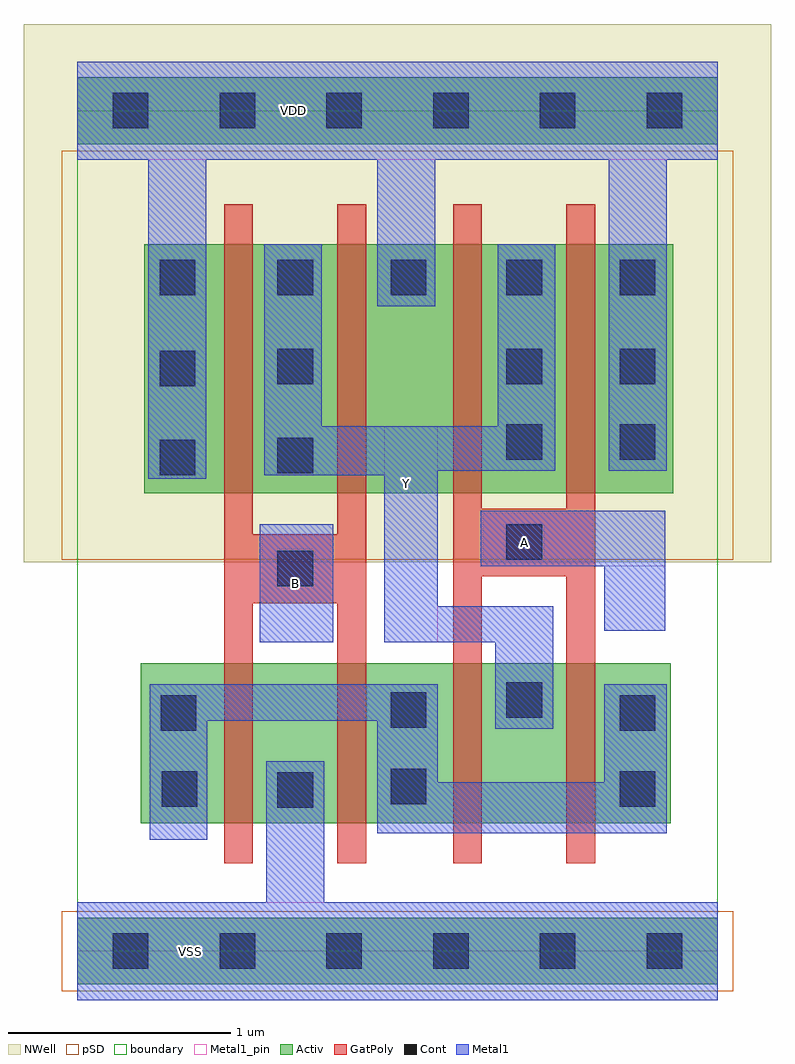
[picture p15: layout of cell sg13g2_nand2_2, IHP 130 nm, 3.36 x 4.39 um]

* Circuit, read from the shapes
.subckt sg13g2_nand2_2 A B VDD VSS Y
XM1 VSS B n1 VSS sg13_lv_nmos w=0.72u l=0.13u m=2
XM2 Y A n1 VSS sg13_lv_nmos w=0.72u l=0.13u m=2
XM3 Y B VDD VDD sg13_lv_pmos w=1.12u l=0.13u m=2
XM4 Y A VDD VDD sg13_lv_pmos w=1.12u l=0.13u m=2
.ends

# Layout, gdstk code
import gdstk
lib = gdstk.Library(unit=1e-6, precision=1e-09)
def R(c, l, rs):  # rectangles x0, y0, x1, y1
    for r in rs: c.add(gdstk.rectangle(r[:2], r[2:], *l))
def A(c, l, x, y, w, h, nx, ny, dx, dy):  # array of equal rectangles
    R(c, l, [(x+i*dx, y+j*dy, x+i*dx+w, y+j*dy+h) for i in range(nx) for j in range(ny)])
def P(c, l, *ps):  # polygons
    for p in ps: c.add(gdstk.Polygon(p, *l))
Activ = (1, 0)
GatPoly = (5, 0)
Cont = (6, 0)
Metal1 = (8, 0)
Metal1_pin = (8, 2)
pSD = (14, 0)
NWell = (31, 0)
boundary = (189, 4)

sg13g2_nand2_2 = lib.new_cell('sg13g2_nand2_2')
R(sg13g2_nand2_2, Activ, [(0,-0.15,2.88,0.15), (0.285,0.575,2.67,1.295), (0.3,2.06,2.68,3.18), (0,3.63,2.88,3.93)])
P(sg13g2_nand2_2, GatPoly, [(1.69,0.395),(1.69,3.36),(1.82,3.36),(1.82,1.99),(2.2,1.99),(2.2,3.36),(2.33,3.36),(2.33,0.395),(2.2,0.395),(2.2,1.685),(1.82,1.685),(1.82,0.395)],
  [(0.66,0.395),(0.66,3.36),(0.79,3.36),(0.79,1.875),(1.17,1.875),(1.17,3.36),(1.3,3.36),(1.3,0.395),(1.17,0.395),(1.17,1.565),(0.79,1.565),(0.79,0.395)])
A(sg13g2_nand2_2, Cont, 1.6, -0.08, 0.16, 0.16, 3, 2, 0.48, 3.78)
A(sg13g2_nand2_2, Cont, 0.9, 2.15, 0.16, 0.16, 1, 3, 0, 0.4)
R(sg13g2_nand2_2, Cont, [(0.16,-0.08,0.32,0.08), (0.16,-0.08,0.32,0.08), (0.64,-0.08,0.8,0.08), (0.64,-0.08,0.8,0.08), (1.12,-0.08,1.28,0.08), (1.12,-0.08,1.28,0.08), (1.6,-0.08,1.76,0.08), (0.9,0.645,1.06,0.805), (0.38,0.65,0.54,0.81), (2.44,0.65,2.6,0.81), (1.41,0.66,1.57,0.82), (0.375,0.99,0.535,1.15), (2.44,0.99,2.6,1.15), (1.41,1.005,1.57,1.165), (1.93,1.05,2.09,1.21), (0.9,1.64,1.06,1.8), (1.93,1.76,2.09,1.92), (0.37,2.14,0.53,2.3), (1.93,2.21,2.09,2.37), (2.44,2.21,2.6,2.37), (0.37,2.54,0.53,2.7), (1.93,2.55,2.09,2.71), (2.44,2.55,2.6,2.71), (0.37,2.95,0.53,3.11), (1.41,2.95,1.57,3.11), (1.93,2.95,2.09,3.11), (2.44,2.95,2.6,3.11), (0.16,3.7,0.32,3.86), (0.16,3.7,0.32,3.86), (0.64,3.7,0.8,3.86), (0.64,3.7,0.8,3.86), (1.12,3.7,1.28,3.86), (1.12,3.7,1.28,3.86), (1.6,3.7,1.76,3.86)])
R(sg13g2_nand2_2, Metal1, [(0.82,1.39,1.15,1.92)])
P(sg13g2_nand2_2, Metal1, [(0,-0.22),(0,0.22),(0.85,0.22),(0.85,0.855),(1.11,0.855),(1.11,0.22),(2.88,0.22),(2.88,-0.22)],
  [(0.325,0.5),(0.325,1.2),(1.62,1.2),(1.62,0.76),(2.37,0.76),(2.37,1.2),(2.65,1.2),(2.65,0.53),(1.35,0.53),(1.35,1.035),(0.585,1.035),(0.585,0.5)],
  [(1.88,1),(1.88,1.39),(1.38,1.39),(1.38,2.14),(0.84,2.14),(0.84,3.18),(1.1,3.18),(1.1,2.36),(1.89,2.36),(1.89,3.18),(2.15,3.18),(2.15,2.16),(1.62,2.16),(1.62,1.55),(2.14,1.55),(2.14,1)],
  [(2.37,1.44),(2.37,1.73),(1.815,1.73),(1.815,1.98),(2.645,1.98),(2.645,1.44)],
  [(0.32,2.125),(0.32,3.56),(0,3.56),(0,4),(2.88,4),(2.88,3.56),(2.65,3.56),(2.65,2.16),(2.39,2.16),(2.39,3.56),(1.61,3.56),(1.61,2.9),(1.35,2.9),(1.35,3.56),(0.58,3.56),(0.58,2.125)])
R(sg13g2_nand2_2, Metal1_pin, [(0,-0.22,2.88,0.22), (0.82,1.39,1.15,1.92), (1.38,1.39,1.62,2.36), (1.815,1.73,2.645,1.98), (0,3.56,2.88,4)])
R(sg13g2_nand2_2, pSD, [(-0.07,-0.18,2.95,0.18), (-0.07,1.76,2.95,3.6)])
R(sg13g2_nand2_2, NWell, [(-0.24,1.75,3.12,4.17)])
R(sg13g2_nand2_2, boundary, [(0,0,2.88,3.78)])
sg13g2_nand2_2.add(gdstk.Label('VSS', (0.51,0), layer=8, texttype=25))
sg13g2_nand2_2.add(gdstk.Label('A', (2.01,1.84), layer=8, texttype=25))
sg13g2_nand2_2.add(gdstk.Label('VDD', (0.97,3.78), layer=8, texttype=25))
sg13g2_nand2_2.add(gdstk.Label('B', (0.98,1.655), layer=8, texttype=25))
sg13g2_nand2_2.add(gdstk.Label('Y', (1.48,2.105), layer=8, texttype=25))

lib.write_gds('sg13g2_nand2_2.gds')
